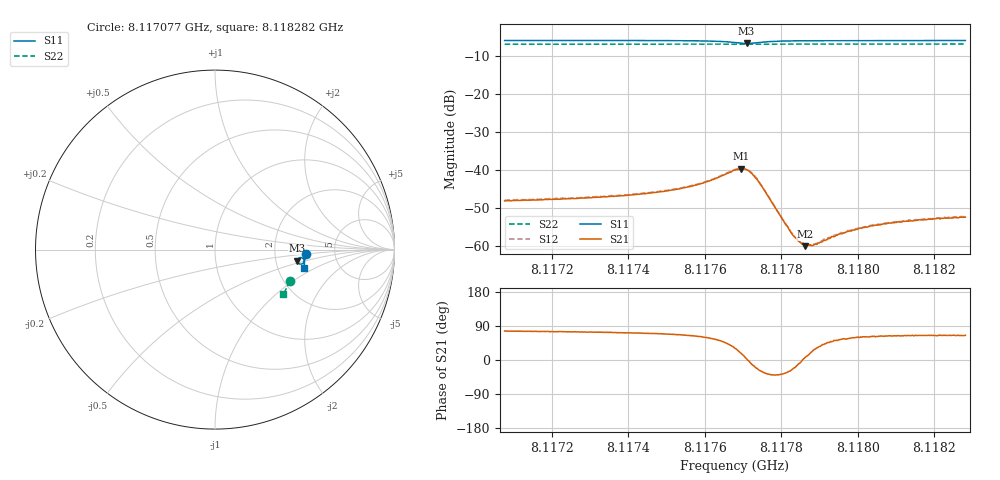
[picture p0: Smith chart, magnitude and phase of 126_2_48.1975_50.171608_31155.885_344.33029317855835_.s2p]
#  HZ  S  RI  R  50.00
! Rohde & Schwarz Vector Network Analyzer
! Rohde-Schwarz,ZNB20-2Port,1311601062101988,3.16
! Created: UTC 3/20/2024, 11:41:42 AM
! freq[Hz]  re:S11  im:S11  re:S21  im:S21  re:S12  im:S12  re:S22  im:S22
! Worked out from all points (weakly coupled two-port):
!   401 points, 8.117077 GHz to 8.118282 GHz, reference 50 ohm
!   highest |S21| = -39.69 dB at 8.117694 GHz (marker M1); lowest = -60.1 dB at 8.117863 GHz (marker M2)
!   lowest |S11| = -6.7 dB at 8.117709 GHz (marker M3), VSWR 2.72, Z = 132 - j20.7 ohm
!   |S11| at or under -10 dB: nowhere
!   |S22| runs from -6.9 to -6.9 dB; largest |S21 - S12| = 0.00035
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8.1170771e9  0.5054 -0.023  0.000907 0.00378  0.000997 0.00385  0.4157 -0.1747
8.1172789e9  0.5039 -0.0395  0.00116 0.0041  0.00126 0.00414  0.4107 -0.1879
8.1173903e9  0.5025 -0.0493  0.00141 0.00436  0.00151 0.00442  0.4075 -0.1949
8.1174806e9  0.5006 -0.0581  0.00182 0.00477  0.00188 0.00482  0.405 -0.2008
8.1175258e9  0.499 -0.0631  0.00216 0.00507  0.00223 0.00512  0.4036 -0.2038
8.117583e9  0.4951 -0.0706  0.00299 0.00568  0.00307 0.00574  0.4016 -0.2075
8.1176221e9  0.4896 -0.0766  0.00416 0.00614  0.00432 0.00621  0.4004 -0.21
8.1176793e9  0.4687 -0.0792  0.00851 0.00503  0.00867 0.00518  0.3977 -0.2135
8.1176944e9  0.4614 -0.0725  0.00985 0.00324  0.00996 0.0032  0.3969 -0.2139
8.1177094e9  0.4583 -0.0614  0.01 0.000594  0.0101 0.00038  0.3966 -0.2143
8.1177245e9  0.4629 -0.0504  0.00859 -0.00194  0.00873 -0.00196  0.3964 -0.2148
8.1177395e9  0.4718 -0.0449  0.00651 -0.00299  0.00657 -0.00309  0.3966 -0.2154
8.1178299e9  0.4964 -0.0589  0.00127 -0.000561  0.00132 -0.000587  0.3946 -0.2217
8.1178479e9  0.4973 -0.0619  0.00111 -0.000169  0.0011 -0.000185  0.3942 -0.223
8.117863e9  0.4978 -0.0643  0.000976 0.000123  0.00106 9.5e-05  0.3936 -0.224
8.117872e9  0.498 -0.0654  0.000975 0.000244  0.000967 0.000283  0.3933 -0.2246
8.1178811e9  0.4982 -0.0668  0.000929 0.000379  0.000985 0.000377  0.3932 -0.225
8.1179744e9  0.4982 -0.0776  0.000852 0.00128  0.000866 0.00133  0.3902 -0.231
8.1180136e9  0.498 -0.0815  0.000828 0.00151  0.000881 0.00152  0.3888 -0.2336
8.1180828e9  0.4971 -0.0877  0.000873 0.00179  0.00092 0.00178  0.3865 -0.2379
8.1181611e9  0.4961 -0.0944  0.000939 0.00199  0.00095 0.00201  0.3838 -0.2426
8.1182815e9  0.494 -0.104  0.000992 0.00215  0.00106 0.0022  0.3795 -0.2499
